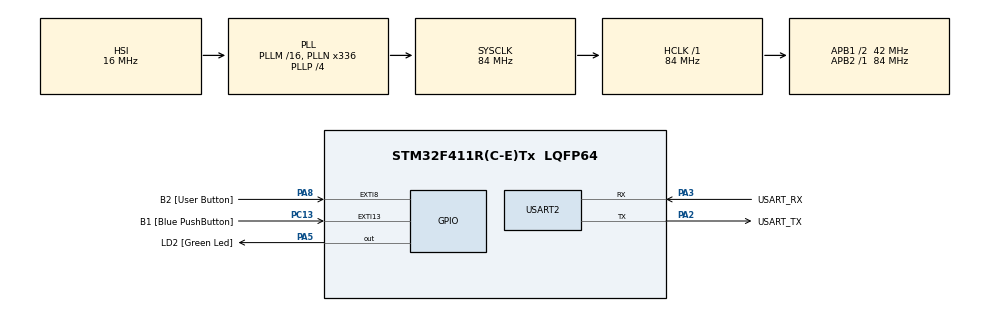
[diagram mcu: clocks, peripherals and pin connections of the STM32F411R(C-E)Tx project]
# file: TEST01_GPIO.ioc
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Mcu.Family=STM32F4
Mcu.Name=STM32F411R(C-E)Tx
Mcu.Package=LQFP64
NVIC.EXTI15_10_IRQn=true\:0\:0\:false\:false\:true\:true\:true\:true
NVIC.EXTI9_5_IRQn=true\:0\:0\:false\:false\:true\:true\:true\:true
NVIC.PriorityGroup=NVIC_PRIORITYGROUP_0
PA13.GPIO_Label=TMS
PA13.Mode=Serial_Wire
PA13.Signal=SYS_JTMS-SWDIO
PA14.GPIO_Label=TCK
PA14.Mode=Serial_Wire
PA14.Signal=SYS_JTCK-SWCLK
PA2.GPIO_Label=USART_TX
PA2.Mode=Asynchronous
PA2.Signal=USART2_TX
PA3.GPIO_Label=USART_RX
PA3.Mode=Asynchronous
PA3.Signal=USART2_RX
PA5.GPIO_Label=LD2 [Green Led]
PA5.Signal=GPIO_Output
PA8.GPIO_Label=B2 [User Button]
PA8.Signal=GPXTI8
PB3.GPIO_Label=SWO
PB3.Signal=SYS_JTDO-SWO
PC13-ANTI_TAMP.GPIO_Label=B1 [Blue PushButton]
PC13-ANTI_TAMP.GPIO_ModeDefaultEXTI=GPIO_MODE_IT_FALLING
PC13-ANTI_TAMP.Signal=GPXTI13
PC14-OSC32_IN.Mode=LSE-External-Oscillator
PC14-OSC32_IN.Signal=RCC_OSC32_IN
PC15-OSC32_OUT.Mode=LSE-External-Oscillator
PC15-OSC32_OUT.Signal=RCC_OSC32_OUT
PH0\ -\ OSC_IN.Mode=HSE-External-Clock-Source
PH0\ -\ OSC_IN.Signal=RCC_OSC_IN
PH1\ -\ OSC_OUT.Mode=HSE-External-Clock-Source
PH1\ -\ OSC_OUT.Signal=RCC_OSC_OUT
ProjectManager.HeapSize=0x200
ProjectManager.StackSize=0x400
ProjectManager.TargetToolchain=STM32CubeIDE
RCC.48MHZClocksFreq_Value=84000000
RCC.AHBFreq_Value=84000000
RCC.APB1CLKDivider=RCC_HCLK_DIV2
RCC.APB1Freq_Value=42000000
RCC.APB1TimFreq_Value=84000000
RCC.APB2Freq_Value=84000000
RCC.APB2TimFreq_Value=84000000
RCC.CortexFreq_Value=84000000
RCC.FLatency-AdvancedSettings=FLASH_LATENCY_2
RCC.HCLKFreq_Value=84000000
RCC.HSE_VALUE=8000000
RCC.HSI_VALUE=16000000
RCC.PLLN=336
RCC.PLLP=RCC_PLLP_DIV4
RCC.SYSCLKFreq_VALUE=84000000
RCC.SYSCLKSource=RCC_SYSCLKSOURCE_PLLCLK
RCC.VCOOutputFreq_Value=336000000
USART2.VirtualMode=VM_ASYNC
board=NUCLEO-F411RE

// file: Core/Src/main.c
/* USER CODE BEGIN Header */
/**
  ******************************************************************************
  * @file           : main.c
  * @brief          : Main program body
  ******************************************************************************
  * @attention
  *
  * Copyright (c) 2024 STMicroelectronics.
  * All rights reserved.
  *
  * This software is licensed under terms that can be found in the LICENSE file
  * in the root directory of this software component.
  * If no LICENSE file comes with this software, it is provided AS-IS.
  *
  ******************************************************************************
  */
/* USER CODE END Header */
#include "main.h"

/* USER CODE BEGIN Includes */
#include <stdio.h>
/* USER CODE END Includes */

UART_HandleTypeDef huart2;

/* USER CODE BEGIN PV */
int __io_putchar(int ch) // 1문자 단위로 포트로 출력
{
	HAL_UART_Transmit(&huart2, &ch, 1, 10);
	return ch;
}
//int __io_getchar(void);
/* USER CODE END PV */

void SystemClock_Config(void);
static void MX_GPIO_Init(void);
static void MX_USART2_UART_Init(void);

/* USER CODE BEGIN 0 */
int mode = 0;
int cnt = 0;
void HAL_GPIO_EXTI_Callback(uint16_t GPIO_Pin) // EXTI15(B1) ISR
{
	switch(GPIO_Pin)
	{
	case B1_Pin:
		mode++;
		if(mode > 1) mode = 0;
		break;
	case B2_Pin:
		printf("%d times pressed\r\n",cnt++);
		break;
	}
}
/* USER CODE END 0 */

int main(void)
{

  /* MCU Configuration--------------------------------------------------------*/

  /* Reset of all peripherals, Initializes the Flash interface and the Systick. */
  HAL_Init();

  /* Configure the system clock */
  SystemClock_Config();

  /* Initialize all configured peripherals */
  MX_GPIO_Init();
  MX_USART2_UART_Init();
  /* USER CODE BEGIN 2 */
  printf("\033[2J\n"); // clear screen
  printf("\033[1;1H\n"); // y;xH : {x,y} 위치로 커서 이동

  // github upload test
  /* USER CODE END 2 */

  /* Infinite loop */
  while (1)
  {

    /* USER CODE BEGIN 3 */
	  //int a = HAL_GPIO_ReadPin(GPIOC, GPIO_PIN_13);
	  if(mode == 1)
	  {
		  HAL_GPIO_WritePin(LD2_GPIO_Port, LD2_Pin, 1);
		  HAL_Delay(500);
		  HAL_GPIO_WritePin(LD2_GPIO_Port, LD2_Pin, 0);
		  HAL_Delay(500);
	  }
  }
  /* USER CODE END 3 */
}

void SystemClock_Config(void)
{
  RCC_OscInitTypeDef RCC_OscInitStruct = {0};
  RCC_ClkInitTypeDef RCC_ClkInitStruct = {0};

  /** Configure the main internal regulator output voltage
  */
  __HAL_RCC_PWR_CLK_ENABLE();
  __HAL_PWR_VOLTAGESCALING_CONFIG(PWR_REGULATOR_VOLTAGE_SCALE1);

  /** Initializes the RCC Oscillators according to the specified parameters
  * in the RCC_OscInitTypeDef structure.
  */
  RCC_OscInitStruct.OscillatorType = RCC_OSCILLATORTYPE_HSI;
  RCC_OscInitStruct.HSIState = RCC_HSI_ON;
  RCC_OscInitStruct.HSICalibrationValue = RCC_HSICALIBRATION_DEFAULT;
  RCC_OscInitStruct.PLL.PLLState = RCC_PLL_ON;
  RCC_OscInitStruct.PLL.PLLSource = RCC_PLLSOURCE_HSI;
  RCC_OscInitStruct.PLL.PLLM = 16;
  RCC_OscInitStruct.PLL.PLLN = 336;
  RCC_OscInitStruct.PLL.PLLP = RCC_PLLP_DIV4;
  RCC_OscInitStruct.PLL.PLLQ = 4;
  if (HAL_RCC_OscConfig(&RCC_OscInitStruct) != HAL_OK)
  {
    Error_Handler();
  }

  /** Initializes the CPU, AHB and APB buses clocks
  */
  RCC_ClkInitStruct.ClockType = RCC_CLOCKTYPE_HCLK|RCC_CLOCKTYPE_SYSCLK
                              |RCC_CLOCKTYPE_PCLK1|RCC_CLOCKTYPE_PCLK2;
  RCC_ClkInitStruct.SYSCLKSource = RCC_SYSCLKSOURCE_PLLCLK;
  RCC_ClkInitStruct.AHBCLKDivider = RCC_SYSCLK_DIV1;
  RCC_ClkInitStruct.APB1CLKDivider = RCC_HCLK_DIV2;
  RCC_ClkInitStruct.APB2CLKDivider = RCC_HCLK_DIV1;

  if (HAL_RCC_ClockConfig(&RCC_ClkInitStruct, FLASH_LATENCY_2) != HAL_OK)
  {
    Error_Handler();
  }
}

static void MX_USART2_UART_Init(void)
{

  huart2.Instance = USART2;
  huart2.Init.BaudRate = 115200;
  huart2.Init.WordLength = UART_WORDLENGTH_8B;
  huart2.Init.StopBits = UART_STOPBITS_1;
  huart2.Init.Parity = UART_PARITY_NONE;
  huart2.Init.Mode = UART_MODE_TX_RX;
  huart2.Init.HwFlowCtl = UART_HWCONTROL_NONE;
  huart2.Init.OverSampling = UART_OVERSAMPLING_16;
  if (HAL_UART_Init(&huart2) != HAL_OK)
  {
    Error_Handler();
  }

}

static void MX_GPIO_Init(void)
{
  GPIO_InitTypeDef GPIO_InitStruct = {0};

  /* GPIO Ports Clock Enable */
  __HAL_RCC_GPIOC_CLK_ENABLE();
  __HAL_RCC_GPIOH_CLK_ENABLE();
  __HAL_RCC_GPIOA_CLK_ENABLE();
  __HAL_RCC_GPIOB_CLK_ENABLE();

  /*Configure GPIO pin Output Level */
  HAL_GPIO_WritePin(LD2_GPIO_Port, LD2_Pin, GPIO_PIN_RESET);

  /*Configure GPIO pin : B1_Pin */
  GPIO_InitStruct.Pin = B1_Pin;
  GPIO_InitStruct.Mode = GPIO_MODE_IT_FALLING;
  GPIO_InitStruct.Pull = GPIO_NOPULL;
  HAL_GPIO_Init(B1_GPIO_Port, &GPIO_InitStruct);

  /*Configure GPIO pin : LD2_Pin */
  GPIO_InitStruct.Pin = LD2_Pin;
  GPIO_InitStruct.Mode = GPIO_MODE_OUTPUT_PP;
  GPIO_InitStruct.Pull = GPIO_NOPULL;
  GPIO_InitStruct.Speed = GPIO_SPEED_FREQ_LOW;
  HAL_GPIO_Init(LD2_GPIO_Port, &GPIO_InitStruct);

  /*Configure GPIO pin : B2_Pin */
  GPIO_InitStruct.Pin = B2_Pin;
  GPIO_InitStruct.Mode = GPIO_MODE_IT_RISING;
  GPIO_InitStruct.Pull = GPIO_NOPULL;
  HAL_GPIO_Init(B2_GPIO_Port, &GPIO_InitStruct);

  /* EXTI interrupt init*/
  HAL_NVIC_SetPriority(EXTI9_5_IRQn, 0, 0);
  HAL_NVIC_EnableIRQ(EXTI9_5_IRQn);

  HAL_NVIC_SetPriority(EXTI15_10_IRQn, 0, 0);
  HAL_NVIC_EnableIRQ(EXTI15_10_IRQn);

}

void Error_Handler(void)
{
  __disable_irq();
  while (1)
  {
  }
}
